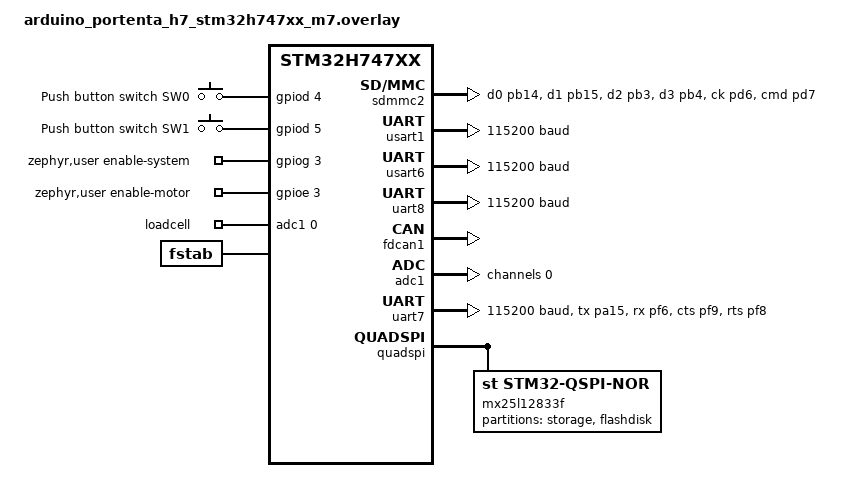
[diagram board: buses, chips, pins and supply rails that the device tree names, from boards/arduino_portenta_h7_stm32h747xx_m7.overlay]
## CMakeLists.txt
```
# SPDX-License-Identifier: Apache-2.0

cmake_minimum_required(VERSION 3.20.0)

macro(app_set_runner_args)
  board_runner_args(canopen "--node-id=${CONFIG_CANOPEN_NODE_ID}")
endmacro()


find_package(Zephyr REQUIRED HINTS $ENV{ZEPHYR_BASE})
project(rehab-bot)

target_sources(app PRIVATE
  src/main.c
  src/bt_main.c
  src/bt_settings.c
  src/config_svc.c
  src/can.c
  src/sdcard.c
  src/button.c
  src/events.c
  src/led.c
  src/loadcell.c
  # src/flashdrive.c
)
target_sources_ifdef(CONFIG_HAS_BLE_FSR app PRIVATE
  src/fsr.c
)
target_sources_ifdef(CONFIG_HAS_BLE_CONTROLLER app PRIVATE
  src/controller.c
)

target_sources_ifdef(CONFIG_HAS_UART_IMU app PRIVATE
  src/uart_imu.c
)

target_sources_ifdef(CONFIG_BT_CYW43XX_ALT app PRIVATE
  src/h4_ifx_cyw43xxx_alt.c
  src/h4_alt.c
)
```

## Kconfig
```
# Config options for prometheus sample application

# Copyright (c) 2024 Mustafa Abdullah Kus, Sparse Technology
# SPDX-License-Identifier: Apache-2.0

mainmenu "rehab robot application"

config BT_CYW43XX_ALT
    bool "Use alternative CYW43XX driver"
    default n
    help
      Enable this option to use an alternative CYW43XX driver 
	  implementation.


config HAS_BLE_FSR
	bool "Has BLE FSR"
	default y
	help
	  Enable this option if the application has a BLE FSR
	  (Force Sensitive Resistor) module. This module is used to
	  measure the pressure applied to the user's foot. The data 
	  from the FSR is sent over BLE to a connected device for 
	  monitoring and analysis.

config HAS_I2C_IMU
	bool "Has I2C IMU"
	default y
	help
	  Enable this option if the application has an I2C IMU
	  (Inertial Measurement Unit) module. This module is used to
	  measure the orientation and motion of the user's leg. The 
	  data from the IMU is sent over I2C to a connected device for 
	  monitoring and analysis.

config HAS_UART_IMU
	bool "Has UART IMU"
	default y
	help
	  Enable this option if the application has a UART IMU
	  (Inertial Measurement Unit) module. This module is used to
	  measure the orientation and motion of the user's leg. The 
	  data from the IMU is sent over UART to a connected device for 
	  monitoring and analysis.

config HAS_BLE_CONTROLLER
	bool "Has BLE Controller"
	default y
	help
	  Enable this option if the application has a BLE
	  (Bluetooth Low Energy) controller module. This module is used 
	  to manage the BLE communication between the application and 
	  connected devices.

config PAIRING_TIMEOUT
	int "Pairing timeout"
	default 180
	range 1 600
	help
	  The timeout for pairing with a BLE device in seconds. If the 
	  pairing process is not completed within this time, the 
	  application will stop trying to pair.

source "Kconfig.zephyr"
```

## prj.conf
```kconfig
CONFIG_SHELL=y
CONFIG_GPIO=y
CONFIG_SERIAL=y
CONFIG_CONSOLE=y
# CONFIG_UART_CONSOLE=y
CONFIG_UART_LINE_CTRL=y
CONFIG_LOG=y
# CONFIG_LOG_MODE_MINIMAL=y
CONFIG_LOG_CMDS=y
CONFIG_CBPRINTF_FP_SUPPORT=y
CONFIG_IPM=y

CONFIG_NEWLIB_LIBC=y

CONFIG_ADC=y
CONFIG_ADC_SHELL=y

CONFIG_MAIN_STACK_SIZE=2048
CONFIG_SYSTEM_WORKQUEUE_STACK_SIZE=2048
CONFIG_BT_LONG_WQ=y

CONFIG_BOARD_SERIAL_BACKEND_CDC_ACM=n
CONFIG_SHELL_BACKEND_SERIAL_CHECK_DTR=n


CONFIG_USB_DEVICE_STACK=y
CONFIG_USB_DEVICE_PRODUCT="Zephyr console"
CONFIG_USB_DEVICE_PID=0x0004
CONFIG_USB_DEVICE_INITIALIZE_AT_BOOT=y
CONFIG_USB_CDC_ACM=y

CONFIG_FLASH=y
CONFIG_FLASH_MAP=y
CONFIG_FLASH_SHELL=y
CONFIG_FLASH_MAP_SHELL=y
CONFIG_SETTINGS=y
CONFIG_SETTINGS_RUNTIME=y
CONFIG_NVS=y
CONFIG_SETTINGS_NVS=y
CONFIG_SETTINGS_SHELL=y

CONFIG_BT=y
CONFIG_BT_CENTRAL=y
CONFIG_BT_PERIPHERAL=y
CONFIG_BT_SMP=y
CONFIG_BT_GATT_CLIENT=y
CONFIG_BT_DEVICE_NAME="Rehab-bot"
CONFIG_BT_SHELL=y
CONFIG_BT_SETTINGS=y
CONFIG_BT_H4=n
CONFIG_BT_MAX_CONN=3
CONFIG_BT_MAX_PAIRED=8
# CONFIG_BT_UART=y
# CONFIG_BT_H4=y
# CONFIG_BT_HCI_DRIVER_LOG_LEVEL_DBG=y
# CONFIG_BT_HCI_CORE_LOG_LEVEL_DBG=y

# CONFIG_BT_DRV_RX_STACK_SIZE

CONFIG_BT_RX_STACK_SIZE=2200

CONFIG_BT_BUF_ACL_RX_COUNT_EXTRA=32
CONFIG_BT_BUF_CMD_TX_COUNT=16
CONFIG_BT_BUF_ACL_TX_COUNT=8
CONFIG_BT_BUF_EVT_RX_COUNT=12

CONFIG_BT_BUF_ACL_TX_SIZE=255
CONFIG_BT_BUF_ACL_RX_SIZE=255
CONFIG_BT_L2CAP_TX_MTU=255
CONFIG_BT_GATT_AUTO_UPDATE_MTU=y
CONFIG_BT_GATT_AUTO_DISCOVER_CCC=y

CONFIG_BT_GATT_AUTO_RESUBSCRIBE=n
CONFIG_BT_GATT_ENFORCE_SUBSCRIPTION=n

CONFIG_AIROC_CUSTOM_FIRMWARE_HCD_BLOB="BCM43430A1_001.002.009.0159.0528.1DX.hcd"

CONFIG_BT_ATT_RETRY_ON_SEC_ERR=n
CONFIG_BT_GATT_AUTO_SEC_REQ=n

CONFIG_BT_FILTER_ACCEPT_LIST=y

CONFIG_CAN=y
CONFIG_CAN_FD_MODE=y
CONFIG_CAN_SHELL=y
CONFIG_CAN_MAX_FILTER=13
CONFIG_CAN_DEFAULT_BITRATE=1000000

CONFIG_SDMMC_STM32=y
CONFIG_DISK_DRIVER_SDMMC=y
CONFIG_SDMMC_STM32_HWFC=y
CONFIG_SDMMC_STM32_CLOCK_CHECK=n
CONFIG_SDMMC_STACK=y

CONFIG_DISK_DRIVER_FLASH=y

CONFIG_DISK_ACCESS=y
CONFIG_DISK_DRIVERS=y

CONFIG_FILE_SYSTEM_MKFS=y
CONFIG_FILE_SYSTEM_SHELL=y
CONFIG_FILE_SYSTEM=y
CONFIG_FILE_SYSTEM_MKFS=y
CONFIG_FAT_FILESYSTEM_ELM=y
CONFIG_FS_FATFS_MKFS=y
CONFIG_FS_FATFS_MOUNT_MKFS=y
CONFIG_FS_FATFS_EXFAT=y
CONFIG_FILE_SYSTEM_LITTLEFS=y

CONFIG_FILE_SYSTEM_SHELL_MOUNT_COMMAND=y
CONFIG_HEAP_MEM_POOL_SIZE=8192


CONFIG_BT_CYW43XX_ALT=y
CONFIG_HAS_BLE_FSR=y
CONFIG_HAS_UART_IMU=y
CONFIG_HAS_I2C_IMU=n
CONFIG_HAS_BLE_CONTROLLER=y
CONFIG_PAIRING_TIMEOUT=60
```

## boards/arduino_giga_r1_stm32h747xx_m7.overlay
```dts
/ {
	chosen {
		/*zephyr,console = &cdc_acm_uart;
		zephyr,shell-uart = &cdc_acm_uart;
		zephyr,uart-mcumgr = &cdc_acm_uart;
		zephyr,bt-mon-uart = &cdc_acm_uart;
		zephyr,bt-c2h-uart = &cdc_acm_uart;        
		*/
	};
};

/*
&zephyr_udc0 {
    cdc_acm_uart: cdc_acm_uart {
        compatible = "zephyr,cdc-acm-uart";
        label = "Zephyr USB CDC-ACM";
    };
};
*/

&uart7 {
	pinctrl-0 = <&uart7_tx_pf7 &uart7_rx_pa8
		     &uart7_cts_pf9 &uart7_rts_pf8>;
	pinctrl-names = "default";
	current-speed = <115200>;
	status = "okay";
	hw-flow-control;
    fifo-enable;

	bt_hci_uart: bt_hci_uart {
		compatible = "zephyr,bt-hci-uart";
		status = "okay";

		murata-1dx {
			compatible = "infineon,cyw43xxx-bt-hci";
			bt-reg-on-gpios = <&gpioa 10 GPIO_ACTIVE_HIGH>;
			bt-host-wake-gpios = <&gpiog 3 GPIO_ACTIVE_HIGH>;
			bt-dev-wake-gpios = <&gpioh 7 GPIO_ACTIVE_HIGH>;
			fw-download-speed = <115200>;
            hci-operation-speed = <3000000>;
		};
	};
};
```

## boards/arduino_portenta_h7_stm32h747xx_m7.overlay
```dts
/ {
	chosen {
		zephyr,console = &usart1;
		zephyr,shell-uart = &usart1;
		zephyr,uart-mcumgr = &usart1;
		zephyr,bt-mon-uart = &usart1;
		zephyr,bt-c2h-uart = &usart1;
		zephyr,canbus = &fdcan1;        
	};

	aliases {
		imu0 = &usart6;
		imu1 = &uart8;
		sw0 = &button0;
		sw1 = &button1;
	};
	
	gpio_keys {
		compatible = "gpio-keys";
		button0: button_0 {
			gpios = <&gpiod 4 GPIO_ACTIVE_HIGH>;
			label = "Push button switch SW0";
		};
		button1: button_1 {
			gpios = <&gpiod 5 GPIO_ACTIVE_HIGH>;
			label = "Push button switch SW1";
		};
	};

	zephyr,user {
		enable-system-gpios = <&gpiog 3 GPIO_ACTIVE_HIGH>;
		enable-motor-gpios = <&gpioe 3 GPIO_ACTIVE_HIGH>;
		io-channels = <&adc1 0>;
		io-channel-names = "loadcell";
	};

	fstab {
		compatible = "zephyr,fstab";
		lfs1: lfs1 {
			compatible = "zephyr,fstab,littlefs";
			read-size = <16>;
			prog-size = <16>;
			cache-size = <64>;
			lookahead-size = <32>;
			block-cycles = <512>;
			partition = <&flash_disk>;
			mount-point = "/lfs";
			automount;
		};
	};
/*
	msc_disk0 {
		compatible = "zephyr,flash-disk";
		partition = <&flash_disk>;
		disk-name = "NAND";
		cache-size = <4096>;
	};
*/	
};

&sdmmc2 {
	status = "okay";
	pinctrl-0 = <&sdmmc2_d0_pb14 &sdmmc2_d1_pb15
		     &sdmmc2_d2_pb3 &sdmmc2_d3_pb4
		     &sdmmc2_ck_pd6 &sdmmc2_cmd_pd7>;
	pinctrl-names = "default";
/*cd-gpios = <&gpioc 13 GPIO_ACTIVE_LOW>;*/
};

&usart1 {
	status = "okay";
	current-speed = <115200>;
};

&usart6 {
	status = "okay";
	current-speed = <115200>;
};

&uart8 {
	status = "okay";
	current-speed = <115200>;
};

&fdcan1 {
	status = "okay";
};

&adc1 {
	status = "okay";
	pinctrl-0 = <&adc1_inp0_pa0_c>;
	pinctrl-names = "default";
	st,adc-clock-source = "SYNC";
	st,adc-prescaler = <4>;
	/*vref-mv = <10000>;*/

	#address-cells = <1>;
	#size-cells = <0>;

	channel@0 {
		reg = <0>;
		zephyr,gain = "ADC_GAIN_1";
		zephyr,reference = "ADC_REF_INTERNAL";
		zephyr,acquisition-time = <ADC_ACQ_TIME_DEFAULT>;
		zephyr,resolution = <16>;
	};
};


&mac {
	status = "disabled";    
};


&uart7 {
	pinctrl-0 = <&uart7_tx_pa15 &uart7_rx_pf6
		     &uart7_cts_pf9 &uart7_rts_pf8>;
	pinctrl-names = "default";
	current-speed = <115200>;
	hw-flow-control;
	status = "okay";
    fifo-enable;

	bt_hci_uart: bt_hci_uart {
		compatible = "zephyr,bt-hci-uart";
		status = "okay";

		murata-1dx {
			compatible = "infineon,cyw43xxx-bt-hci";
			bt-reg-on-gpios = <&gpioj 12 GPIO_ACTIVE_HIGH>;
			bt-host-wake-gpios = <&gpioj 13 GPIO_ACTIVE_HIGH>;
			bt-dev-wake-gpios = <&gpioj 14 GPIO_ACTIVE_HIGH>;
            fw-download-speed = <115200>;
            hci-operation-speed = <3000000>;
		};
	};
};


&flash0 {
	partitions {
		compatible = "fixed-partitions";
		#address-cells = <1>;
		#size-cells = <1>;

		boot_partition: partition@0 {
			label = "bootloader";
			reg = <0x00000000 0x00040000>;
			read-only;
		};
		/* The arduino default bootloader occupies the address space 0x0 - 0x40000.
		 * This way regardless of the user's choice to use the mcuboot bootloader,
		 * applications will be located at 0x40000 which will be loaded by the
		 * arduino bootloader.
		 */
		slot0_partition: partition@40000 {
			label = "image-0";
			reg = <0x00040000 0x000C0000>;
		};
	};
};




&quadspi {
	status = "okay";

	mx25l12833f: qspi-nor-flash@90000000 {
		compatible = "st,stm32-qspi-nor";
		status = "okay";
		partitions {
			compatible = "fixed-partitions";
			#address-cells = < 1 >;
			#size-cells = < 1 >;

			storage_partition: partition@0 {
				label = "storage";
				reg = < 0x0 DT_SIZE_K(512) >;
			};

			flash_disk: partition@f80000 {
				label = "flashdisk";
				reg = < 0x80000 DT_SIZE_K(15872) >;
			};
		};
	};
};
```

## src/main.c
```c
/* main.c - Application main entry point */

/*
 * Copyright (c) 2015-2016 Intel Corporation
 *
 * SPDX-License-Identifier: Apache-2.0
 */

#include <zephyr/types.h>
#include <stddef.h>
#include <errno.h>
#include <zephyr/kernel.h>
#include <zephyr/sys/printk.h>
#include <zephyr/shell/shell.h>

#include <zephyr/bluetooth/bluetooth.h>
#include <zephyr/bluetooth/hci.h>
#include <zephyr/bluetooth/conn.h>
#include <zephyr/bluetooth/uuid.h>
#include <zephyr/bluetooth/gatt.h>
#include <zephyr/sys/byteorder.h>

#include <zephyr/logging/log.h>
#include <app_version.h>

#include "bt_main.h"
#include "config_svc.h"


LOG_MODULE_REGISTER(main);

#define FSR_TAG 		0x01
#define CONTROLLER_TAG 	0x02 

enum debug_flag {
	FLAG_FSR = 0,
	FLAG_CONTROLLER,
	FLAG_NUM,
};

static ATOMIC_DEFINE(flags, FLAG_NUM);
#ifdef CONFIG_HAS_BLE_FSR
K_MSGQ_DEFINE(fsr_msgq, sizeof(struct fsr_data), 10, 1);
#endif
#ifdef CONFIG_HAS_BLE_CONTROLLER
K_MSGQ_DEFINE(controller_msgq, sizeof(struct controller_data), 10, 1);
#endif
struct k_poll_event events[] = {
#ifdef CONFIG_HAS_BLE_FSR
    K_POLL_EVENT_STATIC_INITIALIZER(K_POLL_TYPE_MSGQ_DATA_AVAILABLE,
                                    K_POLL_MODE_NOTIFY_ONLY,
                                    &fsr_msgq, FSR_TAG),
#endif
#ifdef CONFIG_HAS_BLE_CONTROLLER
    K_POLL_EVENT_STATIC_INITIALIZER(K_POLL_TYPE_MSGQ_DATA_AVAILABLE,
                                    K_POLL_MODE_NOTIFY_ONLY,
                                    &controller_msgq, CONTROLLER_TAG),
#endif
};

int main(void)
{
	LOG_INF("Application Version: %s", APP_VERSION_EXTENDED_STRING);

	while (1) {
		int err = k_poll(events, ARRAY_SIZE(events), K_FOREVER);
		if (err) {
			LOG_ERR("k_poll failed: %d", err);
			continue;
		}

		for (int i = 0; i < ARRAY_SIZE(events); i++) {
#ifdef CONFIG_HAS_BLE_FSR	
			if (events[i].state == K_POLL_STATE_MSGQ_DATA_AVAILABLE && events[i].tag == FSR_TAG) {
				events[i].state = K_POLL_STATE_NOT_READY;
				struct fsr_data data;
				err = k_msgq_get(events[i].msgq, &data, K_NO_WAIT);
				if (err) {
					LOG_ERR("k_msgq_get failed: %d", err);
					continue;
				}
				if (atomic_test_bit(flags, FLAG_FSR)) {
					LOG_INF("FSR data: %u %u %u %u", data.value[0], data.value[1], data.value[2], data.value[3]);
				}
			}		
#endif
#ifdef CONFIG_HAS_BLE_CONTROLLER
			if (events[i].state == K_POLL_STATE_MSGQ_DATA_AVAILABLE && 
				events[i].tag == CONTROLLER_TAG) {
				struct controller_data data;
				events[i].state = K_POLL_STATE_NOT_READY;
				err = k_msgq_get(events[i].msgq, &data, K_NO_WAIT);
				if (err) {
					LOG_ERR("k_msgq_get failed: %d", err);
					continue;
				}
				if (atomic_test_bit(flags, FLAG_CONTROLLER)) {
					LOG_INF("Controller data: %u", data.value);
				}
			}	
#endif
		}
	}

	return 0;
}

static int cmd_monitor_fsr_start(const struct shell *sh, size_t argc, char *argv[])
{
	ARG_UNUSED(argc);
	ARG_UNUSED(argv);

	if (atomic_test_and_set_bit(flags, FLAG_FSR)) {
		shell_print(sh, "fsr monitoring already started\n");
		return 0;
	}
	shell_print(sh, "fsr started\n");
	return 0;
}

static int cmd_monitor_fsr_stop(const struct shell *sh, size_t argc, char *argv[])
{
	ARG_UNUSED(argc);
	ARG_UNUSED(argv);

	if (atomic_test_and_clear_bit(flags, FLAG_FSR)) {
		shell_print(sh, "fsr monitoring not started\n");
		return 0;
	}
	shell_print(sh, "fsr stopped\n");

	return 0;
}

static int cmd_monitor_controller_start(const struct shell *sh, size_t argc, char *argv[])
{
	ARG_UNUSED(argc);
	ARG_UNUSED(argv);

	if (atomic_test_and_set_bit(flags, FLAG_CONTROLLER)) {
		shell_print(sh, "controller monitoring already started\n");
		return 0;
	}
	shell_print(sh, "controller started\n");
	return 0;
}

static int cmd_monitor_controller_stop(const struct shell *sh, size_t argc, char *argv[])
{
	ARG_UNUSED(argc);
	ARG_UNUSED(argv);

	if (atomic_test_and_clear_bit(flags, FLAG_CONTROLLER)) {
		shell_print(sh, "controller monitoring not started\n");
		return 0;
	}
	shell_print(sh, "controller stopped\n");
	return 0;
}


#define START_HELP ("<cmd>\n\nStart monitoring")
#define STOP_HELP  ("<cmd>\n\nStop monitoring")

SHELL_STATIC_SUBCMD_SET_CREATE(fsr_subcmd,
	/* Alphabetically sorted to ensure correct Tab autocompletion. */
	SHELL_CMD_ARG(start, NULL, START_HELP, cmd_monitor_fsr_start, 1, 0),
	SHELL_CMD_ARG(stop, NULL, STOP_HELP, cmd_monitor_fsr_stop, 1, 0),
	SHELL_SUBCMD_SET_END /* Array terminated. */
);

SHELL_STATIC_SUBCMD_SET_CREATE(controller_subcmd,
	/* Alphabetically sorted to ensure correct Tab autocompletion. */
	SHELL_CMD_ARG(start, NULL, START_HELP, cmd_monitor_controller_start, 1, 0),
	SHELL_CMD_ARG(stop, NULL, STOP_HELP, cmd_monitor_controller_stop, 1, 0),
	SHELL_SUBCMD_SET_END /* Array terminated. */
);

SHELL_STATIC_SUBCMD_SET_CREATE(monitor_subcmd,
	SHELL_CMD(fsr, &fsr_subcmd, "FSR sensor data", NULL),
	SHELL_CMD(controller, &controller_subcmd, "Controller data", NULL),
	SHELL_SUBCMD_SET_END);

SHELL_CMD_REGISTER(monitor, &monitor_subcmd, "Monitor commands", NULL);
```

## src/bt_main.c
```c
#include <zephyr/device.h>
#include <zephyr/devicetree.h>
 
#include <zephyr/bluetooth/bluetooth.h>
#include <zephyr/bluetooth/hci.h>
#include <zephyr/bluetooth/conn.h>
#include <zephyr/bluetooth/uuid.h>
#include <zephyr/bluetooth/gatt.h>
#include <zephyr/bluetooth/services/bas.h>

#include <zephyr/settings/settings.h>
#include <zephyr/sys/byteorder.h>
#include <zephyr/logging/log.h>
#include <zephyr/random/random.h>
#include <string.h>
#include "bt_main.h"
#include "config_svc.h"

LOG_MODULE_REGISTER(bt_main, LOG_LEVEL_INF);

#define STACKSIZE 1024
#define PRIORITY 7

#define MFG_DATA_LEN 2
#define MFG_FLAG_PAIRING 0x8000

#define SCAN_PARAM BT_LE_SCAN_PARAM(BT_LE_SCAN_TYPE_PASSIVE, \
									BT_LE_SCAN_OPT_NONE, \
									BT_GAP_SCAN_FAST_INTERVAL, \
									BT_GAP_SCAN_FAST_WINDOW)
#define SCAN_DELAY K_MSEC(500)


enum state_flag {
	FLAG_SCAN,
	FLAG_SLEEP_BEFORE_SCAN,
	FLAG_PAIR,
	FLAG_PAIRING_COMPLETE,
	FLAG_NUM,
};

static ATOMIC_DEFINE(flag, FLAG_NUM);
K_SEM_DEFINE(bt_sem, 0, 1);

static struct gatt_client *clients[] = {
#ifdef CONFIG_HAS_BLE_FSR
	&fsr_srvc,	
#endif
#ifdef CONFIG_HAS_BLE_CONTROLLER
	&controller_client,
#endif	
	// NULL
};

static bool is_pairing = false;
static bt_addr_le_t bond_addrs[CONFIG_BT_MAX_PAIRED] = {0};
struct k_work_delayable pairing_timeout_work;
#define PAIRING_TIMEOUT K_SECONDS(CONFIG_PAIRING_TIMEOUT)

static void copy_bonded_addr(const struct bt_bond_info *info, void *data)
{
	int *count = (int *)data;
	if (*count >= CONFIG_BT_MAX_PAIRED) {
		LOG_WRN("Maximum bonded addresses reached (%d)", CONFIG_BT_MAX_PAIRED);
		return;
	}
	bt_addr_le_copy(&bond_addrs[*count], &info->addr);
	(*count)++;
}

static void load_bonded_addresses(void)
{
	int bonded_count = 0;
	bt_foreach_bond(BT_ID_DEFAULT, copy_bonded_addr, &bonded_count);
	LOG_INF("Loaded %u bonded addresses", bonded_count);
}

static bool find_bonded_addr(const bt_addr_le_t *addr)
{
	// Check if the address is in the bonded addresses list
	for (int i = 0; i < CONFIG_BT_MAX_PAIRED; i++) {
		if (bt_addr_le_cmp(addr, &bond_addrs[i]) == 0) {
			return true;
		}
	}
	return false;
}

static void pairing_timeout(struct k_work *work)
{
	LOG_INF("Pairing timeout, stopping scan");
	atomic_set_bit(flag, FLAG_PAIRING_COMPLETE);
	k_sem_give(&bt_sem);
}


static void start_scan(void);
static void stop_scan(void);

static bool scan_required(void)
{
	// Check if any client is disconnected
	for (int i = 0; i < ARRAY_SIZE(clients); i++) {
		if (clients[i]->conn == NULL) {
			return true;
		}
	}
	return false;
}

static struct gatt_client * get_client_by_conn(struct bt_conn *conn)
{
	// Find the service by connection
	for (int i = 0; i < ARRAY_SIZE(clients); i++) {
		if (clients[i]->conn == conn) {
			return clients[i];
		}
	}
	return NULL;
}

static void disconnect_all(void)
{
	LOG_INF("Disconnecting all clients");
	for (int i = 0; i < ARRAY_SIZE(clients); i++) {
		if (clients[i]->conn) {
			bt_conn_disconnect(clients[i]->conn, BT_HCI_ERR_REMOTE_USER_TERM_CONN);
			clients[i]->disconnected_cb();
			bt_conn_unref(clients[i]->conn);
			clients[i]->conn = NULL;
		}
	}
}

static bool eir_found(struct bt_data *data, void *user_data)
{
	bt_addr_le_t *addr = user_data;
    struct bt_uuid_128 uuid128;
	static uint16_t mfg_data = 0x0; // Manufacturer data placeholder

	// LOG_INF("[AD]: %u data_len %u", data->type, data->data_len);

	switch (data->type) {
	case BT_DATA_MANUFACTURER_DATA:
		if (data->data_len == 2) {
			mfg_data = sys_get_be16(data->data);
			// LOG_INF("Manufacturer data found: %04x", mfg_data);
		} else {
			mfg_data = 0x0; // Reset if data length is not 2
		}
		break;	
	case BT_DATA_UUID128_ALL:
        if (!bt_uuid_create(&uuid128.uuid, data->data, data->data_len)) {
            LOG_ERR("Unable to create UUID from data");
            return false;
        }

		for (int i = 0; i < ARRAY_SIZE(clients); i++) {
			if (bt_uuid_cmp(&uuid128.uuid, &clients[i]->uuid->uuid) == 0 && clients[i]->conn == NULL) {

				if (is_pairing) {
					if (mfg_data & MFG_FLAG_PAIRING) {
						LOG_INF("Pairing flag found in manufacturer data, pairing mode active");
						bt_unpair(BT_ID_DEFAULT, addr);
					} else {
						LOG_INF("Pairing mode active, but no pairing flag in manufacturer data");
						return false;
					}
				} else  {
					if (find_bonded_addr(addr) && !(mfg_data & MFG_FLAG_PAIRING)) {
						LOG_INF("Found bonded address, proceeding with connection");
					} else {
						LOG_INF("Not in pairing mode and no bonded address found");
						return false;
					}
				}

				LOG_INF("Found service %s", clients[i]->name);
				stop_scan();
				if (bt_conn_le_create(addr, BT_CONN_LE_CREATE_CONN, &clients[i]->conn_param, &clients[i]->conn)) {
					char addr_str[BT_ADDR_LE_STR_LEN];
					bt_addr_le_to_str(addr, addr_str, sizeof(addr_str));
					LOG_INF("Create conn to %s failed", addr_str);
					atomic_set_bit(flag, FLAG_SCAN);
					k_sem_give(&bt_sem);
				}
				return false;
			}
		}
    }

	return true;
}


static void device_found(const bt_addr_le_t *addr, int8_t rssi, uint8_t type,
			 struct net_buf_simple *ad)
{
	char addr_str[BT_ADDR_LE_STR_LEN];

	if (!scan_required()) {
		stop_scan();
		return;
	}

	/* We're only interested in connectable events */
	if (type != BT_GAP_ADV_TYPE_ADV_IND &&
	    type != BT_GAP_ADV_TYPE_ADV_DIRECT_IND) {
		return;
	}
	bt_addr_le_to_str(addr, addr_str, sizeof(addr_str));
	LOG_DBG("Device found: %s (RSSI %d)", addr_str, rssi);
	bt_data_parse(ad, eir_found, (void *)addr);
}


static void connected(struct bt_conn *conn, uint8_t err)
{
	char addr[BT_ADDR_LE_STR_LEN];
	struct gatt_client *client = get_client_by_conn(conn);

	bt_addr_le_to_str(bt_conn_get_dst(conn), addr, sizeof(addr));

	if (err) {
		LOG_INF("Failed to connect to %s %u %s", addr, err, bt_hci_err_to_str(err));
		if (client) {
			client->conn = NULL;
		}
		bt_conn_unref(conn);
		atomic_set_bit(flag, FLAG_SCAN);
		k_sem_give(&bt_sem);
		return;
	}

	if (client == NULL) {
		LOG_WRN("Service not found for connection");
		return;
	}

	client->connected_cb();
	LOG_INF("Connected from %s security %d", addr, bt_conn_get_security(conn));

	atomic_set_bit(flag, FLAG_SLEEP_BEFORE_SCAN);
	k_sem_give(&bt_sem);
}

static void disconnected(struct bt_conn *conn, uint8_t reason)
{
	char addr[BT_ADDR_LE_STR_LEN];
	struct gatt_client *client = get_client_by_conn(conn);
	if (!client) {
		return;
	}

	bt_addr_le_to_str(bt_conn_get_dst(conn), addr, sizeof(addr));
	LOG_INF("Disconnected: %s, reason 0x%02x %s", addr, reason, bt_hci_err_to_str(reason));
	client->disconnected_cb();
	bt_conn_unref(client->conn);
	client->conn = NULL;

	atomic_set_bit(flag, FLAG_SCAN);
	k_sem_give(&bt_sem);
}

static bool le_param_req(struct bt_conn *conn,struct bt_le_conn_param *param)
{
	LOG_INF("LE param request: interval_min %d interval_max %d latency %d timeout %d", param->interval_min, 
		param->interval_max, param->latency, param->timeout);
	return true;
}

static void le_param_updated(struct bt_conn *conn, uint16_t interval, uint16_t latency, uint16_t timeout)
{
	LOG_INF("LE param updated: interval %d latency %d timeout %d", interval, latency, timeout);
}

static void security_changed(struct bt_conn *conn, bt_security_t level, enum bt_security_err err)
{
	char addr[BT_ADDR_LE_STR_LEN];
	bt_addr_le_to_str(bt_conn_get_dst(conn), addr, sizeof(addr));
	LOG_INF("Security changed: %s, level %d, err %d", addr, level, err);
}

BT_CONN_CB_DEFINE(conn_callbacks) = {
	.connected = connected,
	.disconnected = disconnected,
	.le_param_req = le_param_req,
    .le_param_updated = le_param_updated,
	.security_changed = security_changed,
};

void mtu_updated(struct bt_conn *conn, uint16_t tx, uint16_t rx)
{
	LOG_INF("Updated MTU: TX: %d RX: %d bytes", tx, rx);
}

static struct bt_gatt_cb gatt_callbacks = {
	.att_mtu_updated = mtu_updated,
};

void pairing_complete(struct bt_conn *conn, bool bonded)
{
	char addr_str[BT_ADDR_LE_STR_LEN];
	bt_addr_le_to_str(bt_conn_get_dst(conn), addr_str, sizeof(addr_str));
	LOG_INF("Pairing completed: %s, bonded %s", addr_str, bonded ? "yes" : "no");
}

void pairing_failed(struct bt_conn *conn, enum bt_security_err reason)
{
	LOG_INF("Pairing failed: %s", bt_security_err_to_str(reason));
	bt_conn_disconnect(conn, BT_HCI_ERR_AUTH_FAIL);
	bt_unpair(BT_ID_DEFAULT, bt_conn_get_dst(conn));
}


static struct bt_conn_auth_info_cb bt_conn_auth_info = {
	.pairing_complete = pairing_complete,
	.pairing_failed = pairing_failed,
};

static void start_scan(void)
{
	int err;

	err = bt_le_scan_start(SCAN_PARAM, device_found);
	if (err && err != -EALREADY) {
		LOG_ERR("Scanning failed to start (err %d)", err);
		return;
	} else {
		LOG_INF("Scanning successfully started\n");
	}
}

static void stop_scan(void)
{
	int err;

	err = bt_le_scan_stop();
	if (err) {
		LOG_ERR("Failed to stop scanning (err %d)", err);
		return;
	}
	LOG_INF("Scanning successfully stopped\n");
}


static void bt_thread(void)
{

    k_work_init_delayable(&pairing_timeout_work, pairing_timeout);

	if (dev_settings_load()) {
		LOG_ERR("Failed to initialize settings");
		return;
	}

	k_sem_take(&bt_sem, K_FOREVER); // Wait for the semaphore to start Bluetooth initialization

	if (bt_enable(NULL)) {
		LOG_ERR("Failed to enable Bluetooth");
		return;
	}
 
	if (IS_ENABLED(CONFIG_SETTINGS)) {
		settings_load();
	}

	LOG_INF("Bluetooth initialized");

	load_bonded_addresses();

    bt_conn_auth_info_cb_register(&bt_conn_auth_info);
	bt_gatt_cb_register(&gatt_callbacks);

	bt_set_bondable(false);

	start_scan();
	init_config_svc();

	while (1) {
        k_sem_take(&bt_sem, K_FOREVER);
		if (atomic_test_and_clear_bit(flag, FLAG_SCAN)) {
			if (scan_required()) {
				start_scan();
			} else if (is_pairing) {
				k_work_cancel_delayable(&pairing_timeout_work);
				atomic_set_bit(flag, FLAG_PAIRING_COMPLETE);
				k_sem_give(&bt_sem);
			}
		} 
		if (atomic_test_and_clear_bit(flag, FLAG_SLEEP_BEFORE_SCAN)) {
			k_sleep(SCAN_DELAY);
			atomic_set_bit(flag, FLAG_SCAN);
			k_sem_give(&bt_sem);
		}
		if (atomic_test_and_clear_bit(flag, FLAG_PAIR)) {
			disconnect_all();
			bt_set_bondable(true);
			is_pairing = true;
			k_work_schedule(&pairing_timeout_work, PAIRING_TIMEOUT);
			atomic_set_bit(flag, FLAG_SLEEP_BEFORE_SCAN);
			k_sem_give(&bt_sem);
		}
		if (atomic_test_and_clear_bit(flag, FLAG_PAIRING_COMPLETE)) {
			LOG_INF("Pairing completed");
			bt_set_bondable(false);
			is_pairing = false;
			settings_runtime_set("event/pairing_complete", NULL, 0);
			atomic_set_bit(flag, FLAG_SCAN);
			k_sem_give(&bt_sem);
		}
	}
}

K_THREAD_DEFINE(bt_id, STACKSIZE, bt_thread, NULL, NULL, NULL, PRIORITY, 0, 0);



int btsrv_handle_set(const char *name, size_t len, settings_read_cb read_cb, void *cb_arg)
{
	const char *next;
	size_t name_len;
	// int err;

	name_len = settings_name_next(name, &next);
	if (!next) {
		if (!strncmp(name, "start", name_len)) {
			LOG_INF("<btsrv/start>");
			k_sem_give(&bt_sem);
			return 0;
		}
		if (!strncmp(name, "stop", name_len)) {
			LOG_INF("<btsrv/stop>");
			bt_disable();
			return 0;
		}
		if (!strncmp(name, "pair", name_len)) {
			LOG_INF("<btsrv/pair>");
			atomic_set_bit(flag, FLAG_PAIR);
			k_sem_give(&bt_sem);
			return 0;
		}
	}
	return -ENOENT;
}
/* static subtree handler */
SETTINGS_STATIC_HANDLER_DEFINE(btsrv, "btsrv", NULL, btsrv_handle_set, NULL, NULL);
```

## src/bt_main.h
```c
#ifndef _BT_MAIN_H_
#define _BT_MAIN_H_

#include <zephyr/kernel.h>
#include <zephyr/bluetooth/bluetooth.h>
#include <zephyr/bluetooth/hci.h>
#include <zephyr/bluetooth/conn.h>
#include <zephyr/bluetooth/uuid.h>

struct gatt_client {
    char *name;
    struct bt_conn *conn;
    struct bt_le_conn_param conn_param;
    const struct bt_uuid_128 *uuid;
    void (*connected_cb)();
    void (*disconnected_cb)();
};

extern int dev_settings_load(void);
extern void config_svc_init(void);


#ifdef CONFIG_HAS_BLE_FSR
extern struct gatt_client fsr_srvc;
struct fsr_data {
    uint16_t value[4];
};
extern struct k_msgq fsr_msgq;
#endif // CONFIG_HAS_BLE_FSR
#ifdef CONFIG_HAS_BLE_CONTROLLER
extern struct gatt_client controller_client;
struct controller_data {
    uint16_t value;
    uint16_t mode;
};
extern struct k_msgq controller_msgq;
#endif // CONFIG_HAS_BLE_CONTROLLER

#endif // _BT_MAIN_H_
```

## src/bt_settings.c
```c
#include <zephyr/kernel.h>
#include <zephyr/settings/settings.h>
#include <zephyr/logging/log.h>
#include <zephyr/random/random.h>
#include <zephyr/bluetooth/bluetooth.h>


LOG_MODULE_REGISTER(dev_settings, LOG_LEVEL_INF);

static bt_addr_t local_addr = {
	.val = {0, 0, 0, 0, 0, 0}
};

uint8_t *local_dev_addr() 
{
	return local_addr.val;
}

static int direct_loader(const char *name, size_t len, settings_read_cb read_cb,
	void *cb_arg, void *param)
{
    ARG_UNUSED(name);
    ARG_UNUSED(len);
	read_cb(cb_arg, local_addr.val, sizeof(bt_addr_t));
	return 0;
}

int dev_settings_load(void)
{
    if (settings_subsys_init()) {
        LOG_ERR("Failed to initialize settings subsystem");
        return -1;
    }

    if (settings_load_subtree_direct("device/bdaddr", direct_loader, NULL)) {
        LOG_ERR("Failed to load local address");
        return -1;
    }

    if (bt_addr_cmp(&local_addr, BT_ADDR_ANY) == 0) {
        LOG_INF("No address found, generating random address");
        for (int i = 0; i < sizeof(bt_addr_t); i++) {
            local_addr.val[i] = sys_rand8_get();
        }
        settings_save_one("device/bdaddr", local_addr.val, sizeof(bt_addr_t));
    }

    LOG_INF("Local address: %02x:%02x:%02x:%02x:%02x:%02x",
        local_addr.val[0], local_addr.val[1], local_addr.val[2],
        local_addr.val[3], local_addr.val[4], local_addr.val[5]);

    return 0;
}
```

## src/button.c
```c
#include <zephyr/kernel.h>
#include <zephyr/sys/byteorder.h>
#include <zephyr/device.h>
#include <zephyr/drivers/gpio.h>
#include <zephyr/sys/util.h>
#include <zephyr/sys/printk.h>
#include <zephyr/devicetree.h>
#include <zephyr/drivers/adc.h>
#include <zephyr/logging/log.h>
#include <zephyr/sys/atomic.h>
#include <zephyr/drivers/pwm.h>
#include <zephyr/settings/settings.h>

LOG_MODULE_REGISTER(button, LOG_LEVEL_ERR);

#define STACKSIZE 1024
#define PRIORITY 7

#define BUTTON_SHORT_PRESS_TIME 800 // ms

typedef enum {
    STATE_NONE = 0,
	STATE_A,
	STATE_B,
	STATE_BOTH,
	STATE_A_LONG,
	STATE_B_LONG,
    STATE_NUM,
} button_state_t;

static struct {
    struct k_mutex lock;
    button_state_t state;
    struct k_work_delayable work;
} input_data;
static struct gpio_callback button_cb_data;

#define SW0_NODE		DT_ALIAS(sw0)
#define SW1_NODE		DT_ALIAS(sw1)

static const struct gpio_dt_spec button_0 = GPIO_DT_SPEC_GET_OR(SW0_NODE, gpios, {0});
static const struct gpio_dt_spec button_1 = GPIO_DT_SPEC_GET_OR(SW1_NODE, gpios, {0});

K_SEM_DEFINE(button_sem, 0, 1);

static void long_work_handler(struct k_work *work)
{
    k_mutex_lock(&input_data.lock, K_FOREVER);
    if (input_data.state == STATE_A) {
        input_data.state = STATE_NONE;
        settings_runtime_set("event/button_a_long", NULL, 0);
    } else if (input_data.state == STATE_B) {
        input_data.state = STATE_NONE;
        settings_runtime_set("event/button_b_long", NULL, 0);
    }
    k_mutex_unlock(&input_data.lock);
}

void button_event(const struct device *dev, struct gpio_callback *cb, uint32_t pins)
{
	if (pins & BIT(button_0.pin)) {
		bool pressed = gpio_pin_get_dt(&button_0);
		LOG_INF("Button 0 %s at %" PRIu32 "", pressed? "pressed":"released", k_cycle_get_32());
        if (pressed) {
            k_mutex_lock(&input_data.lock, K_FOREVER);
            if (input_data.state == STATE_NONE) {
                input_data.state = STATE_A;
                k_work_schedule(&input_data.work, K_MSEC(BUTTON_SHORT_PRESS_TIME));
            } else if (input_data.state == STATE_B) {
                input_data.state = STATE_NONE;
                k_work_cancel_delayable(&input_data.work);
                settings_runtime_set("event/button_ab", NULL, 0);
            }
            k_mutex_unlock(&input_data.lock);
        } else {
            k_mutex_lock(&input_data.lock, K_FOREVER);
            if (input_data.state == STATE_A) {
                input_data.state = STATE_NONE;
                k_work_cancel_delayable(&input_data.work);
                settings_runtime_set("event/button_a", NULL, 0);
            }
            k_mutex_unlock(&input_data.lock);
        }

	} else if (pins & BIT(button_1.pin)) {
        bool pressed = gpio_pin_get_dt(&button_1);
        LOG_INF("Button 1 %s at %" PRIu32 "", pressed? "pressed":"released", k_cycle_get_32());
        if (pressed) {
            k_mutex_lock(&input_data.lock, K_FOREVER);
            if (input_data.state == STATE_NONE) {
                input_data.state = STATE_B;
                k_work_schedule(&input_data.work, K_MSEC(BUTTON_SHORT_PRESS_TIME));
            } else if (input_data.state == STATE_A) {
                input_data.state = STATE_NONE;
                k_work_cancel_delayable(&input_data.work);
                settings_runtime_set("event/button_ab", NULL, 0);
            }
            k_mutex_unlock(&input_data.lock);
        } else {
            k_mutex_lock(&input_data.lock, K_FOREVER);
            if (input_data.state == STATE_B) {
                input_data.state = STATE_NONE;
                k_work_cancel_delayable(&input_data.work);
                settings_runtime_set("event/button_b", NULL, 0);
            }
            k_mutex_unlock(&input_data.lock);
        }
    } else {
        LOG_ERR("Unknown button event on pins: %08x", pins);
        return;
    }
}

static int button_init(void)
{
	int err;

    input_data.state = STATE_NONE;
    k_mutex_init(&input_data.lock); 
    k_work_init_delayable(&input_data.work, long_work_handler);

	if (!gpio_is_ready_dt(&button_0)) {
		LOG_ERR("Error: button device %s is not ready\n", button_0.port->name);
		return -1;
	}
	if (!gpio_is_ready_dt(&button_1)) {
		LOG_ERR("Error: button device %s is not ready\n", button_1.port->name);
		return -1;
	}
	err = gpio_pin_configure_dt(&button_0, GPIO_INPUT);
	if (err != 0) {
		LOG_ERR("Error %d: failed to configure %s pin %d", err, button_0.port->name, button_0.pin);
		return -1;
	}
	err = gpio_pin_configure_dt(&button_1, GPIO_INPUT);
	if (err != 0) {
		LOG_ERR("Error %d: failed to configure %s pin %d", err, button_1.port->name, button_1.pin);
		return -1;
	}

	err = gpio_pin_interrupt_configure_dt(&button_0, GPIO_INT_EDGE_BOTH);
	if (err != 0) {
		LOG_ERR("Error %d: failed to configure interrupt on %s pin %d", err, 
			button_0.port->name, button_0.pin);
		return -1;
	}

	err = gpio_pin_interrupt_configure_dt(&button_1, GPIO_INT_EDGE_BOTH);
	if (err != 0) {
		LOG_ERR("Error %d: failed to configure interrupt on %s pin %d", err, 
			button_1.port->name, button_1.pin);
		return -1;
	}

	gpio_init_callback(&button_cb_data, button_event, BIT(button_0.pin) | BIT(button_1.pin));
	gpio_add_callback(button_0.port, &button_cb_data);
	gpio_add_callback(button_1.port, &button_cb_data);

	return 0;
}

SYS_INIT(button_init, APPLICATION, CONFIG_APPLICATION_INIT_PRIORITY);
```

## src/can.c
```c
#include <zephyr/kernel.h>
#include <zephyr/device.h>
#include <zephyr/storage/disk_access.h>
#include <zephyr/logging/log.h>
#include <zephyr/drivers/can.h>
#include <zephyr/settings/settings.h>

LOG_MODULE_REGISTER(can, LOG_LEVEL_DBG);

#define STACKSIZE 1024
#define PRIORITY 7

#define TIMER_DELAY 	K_SECONDS(5) 
#define TIMER_INTERVAL 	K_SECONDS(5) //K_MSEC(1) 

#define TX_MSG_ID 0x100
#define RX_MSG_ID 0x200

/* Devicetree */
#define CANBUS_NODE DT_CHOSEN(zephyr_canbus)

K_SEM_DEFINE(tx_sem, 0, 1);

K_THREAD_STACK_DEFINE(rx_thread_stack, STACKSIZE);
K_THREAD_STACK_DEFINE(tx_thread_stack, STACKSIZE);
struct k_thread rx_thread_data, tx_thread_data;

const struct device *const can_dev = DEVICE_DT_GET(CANBUS_NODE);

CAN_MSGQ_DEFINE(rx_msgq, 5);

static void tx_timer_handler(struct k_timer *timer)
{
    k_sem_give(&tx_sem);
	// LOG_DBG("TX timer expired, semaphore given");
}

K_TIMER_DEFINE(tx_timer, tx_timer_handler, NULL);

static void can_tx_callback(const struct device *dev, int error, void *user_data)
{
    ARG_UNUSED(dev);
    ARG_UNUSED(user_data);
    if (error != 0) {
        LOG_ERR("CAN TX callback error: %d", error);
    } else {
        LOG_DBG("CAN frame sent successfully");
    }
}

static void can_tx_thread(void *unused1, void *unused2, void *unused3)
{
	struct can_frame frame = {
        .id = TX_MSG_ID,
        .dlc = 8,
        .flags = CAN_FRAME_IDE,
        .data = {0x01, 0x02, 0x03, 0x04, 0x05, 0x06, 0x07, 0x08}};
	int err;

	k_sem_take(&tx_sem, K_FOREVER);
    k_timer_start(&tx_timer, TIMER_DELAY, TIMER_INTERVAL);

    while (true) {
        k_sem_take(&tx_sem, K_FOREVER/*K_MSEC(2)*/);
		LOG_DBG("Preparing to send CAN frame with ID: 0x%08x, DLC: %d",
				frame.id, frame.dlc);
        err = can_send(can_dev, &frame, /*K_MSEC(10)*/K_FOREVER/*K_NO_WAIT*/, can_tx_callback, NULL);
		// LOG_DBG("CAN send returned with error: %d", err);
        if (err != 0) {
            LOG_ERR("failed to enqueue CAN frame (err %d)", err);
        }
	}
}

static void can_rx_thread(void *unused1, void *unused2, void *unused3)
{
	const struct can_filter filter = {
		.flags = CAN_FILTER_IDE,
		.id = RX_MSG_ID,
		.mask = CAN_EXT_ID_MASK
	};
	struct can_frame frame;
	int filter_id;

	filter_id = can_add_rx_filter_msgq(can_dev, &rx_msgq, &filter);
	LOG_INF("Filter id: %d", filter_id);

	while (true) {
		if (!k_msgq_get(&rx_msgq, &frame, K_FOREVER)) {
            LOG_DBG("Received CAN frame with ID: 0x%08x, DLC: %d",
                        frame.id, frame.dlc);
    		// LOG_HEXDUMP_DBG(frame.data, frame.dlc,
            //             "CAN frame data");
        }
	}
}

void state_change_callback(const struct device *dev, enum can_state state,
			   struct can_bus_err_cnt err_cnt, void *user_data)
{
	ARG_UNUSED(user_data);
	ARG_UNUSED(dev);

	LOG_DBG("CAN state changed: %d", state);
}


static int motor_can_init(void)
{
    int err;
    
	LOG_DBG("");

	if (!device_is_ready(can_dev)) {
		LOG_ERR("CAN device not ready");
		return -1;
	}

	err = can_set_mode(can_dev, CAN_MODE_FD);
	if (err != 0) {
		LOG_ERR("Error setting CAN FD mode (err %d)", err);
		return 0;
	}

	can_set_state_change_callback(can_dev, state_change_callback, NULL);

	err = can_start(can_dev);
	if (err != 0) {
		LOG_ERR("Error starting CAN controller (err %d)", err);
		return -1;
	}

	k_thread_create(&rx_thread_data, rx_thread_stack,
				 K_THREAD_STACK_SIZEOF(rx_thread_stack),
				 can_rx_thread, NULL, NULL, NULL,
				 PRIORITY, 0, K_NO_WAIT);
	k_thread_name_set(&rx_thread_data, "can_rx");

	k_thread_create(&tx_thread_data, tx_thread_stack,
				 K_THREAD_STACK_SIZEOF(tx_thread_stack),
				 can_tx_thread, NULL, NULL, NULL,
				 PRIORITY, 0, K_NO_WAIT);
	k_thread_name_set(&tx_thread_data, "can_tx");

    LOG_INF("CAN controller started successfully");
	return 0;
}

SYS_INIT(motor_can_init, APPLICATION, CONFIG_APPLICATION_INIT_PRIORITY);



int can_handle_set(const char *name, size_t len, settings_read_cb read_cb, void *cb_arg)
{
	const char *next;
	size_t name_len;

	name_len = settings_name_next(name, &next);
	if (!next) {
		if (!strncmp(name, "start", name_len)) {
			LOG_INF("<can/start>");
			k_sem_give(&tx_sem);
			return 0;
		}
	}
	return -ENOENT;
}
/* static subtree handler */
SETTINGS_STATIC_HANDLER_DEFINE(can, "can", NULL, can_handle_set, NULL, NULL);
```

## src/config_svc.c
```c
#include <zephyr/device.h>
#include <zephyr/devicetree.h>
 
#include <zephyr/bluetooth/bluetooth.h>
#include <zephyr/bluetooth/hci.h>
#include <zephyr/bluetooth/conn.h>
#include <zephyr/bluetooth/uuid.h>
#include <zephyr/bluetooth/gatt.h>
#include <zephyr/bluetooth/services/bas.h>

#include <zephyr/settings/settings.h>

#include <zephyr/logging/log.h>
#include <string.h>
#include "config_svc.h"


LOG_MODULE_REGISTER(config_svc, LOG_LEVEL_INF);

#define STACKSIZE 1024
#define PRIORITY 7

enum controller_flag {
	FLAG_ADVERTISE,
	FLAG_NUM,
};
static ATOMIC_DEFINE(flag, FLAG_NUM);

K_SEM_DEFINE(svc_sem, 0, 1);

static const struct bt_data ad[] = {
	BT_DATA_BYTES(BT_DATA_FLAGS, (BT_LE_AD_GENERAL | BT_LE_AD_NO_BREDR)),
	BT_DATA_BYTES(BT_DATA_UUID16_ALL,
			BT_UUID_16_ENCODE(BT_UUID_BAS_VAL),
			BT_UUID_16_ENCODE(BT_UUID_DIS_VAL)),
	BT_DATA_BYTES(BT_DATA_UUID128_ALL, BT_UUID_CONFIG_SERVICE_VAL),			
};

static const struct bt_data sd[] = {
	BT_DATA(BT_DATA_NAME_COMPLETE, CONFIG_BT_DEVICE_NAME, sizeof(CONFIG_BT_DEVICE_NAME) - 1),
};

static const struct bt_uuid_128 config_svc_uuid = BT_UUID_INIT_128(
	BT_UUID_CONFIG_SERVICE_VAL);
static const struct bt_uuid_128 config_flat_walking_uuid = BT_UUID_INIT_128(
	BT_UUID_128_ENCODE(0x32e94da4, 0x19c8, 0x11f0, 0x9cd2, 0x0242ac120002));	
static const struct bt_uuid_128 config_stair_ascent_uuid = BT_UUID_INIT_128(
    BT_UUID_128_ENCODE(0x32e94ef8, 0x19c8, 0x11f0, 0x9cd2, 0x0242ac120002));	
static const struct bt_uuid_128 config_stair_descent_uuid = BT_UUID_INIT_128(
    BT_UUID_128_ENCODE(0x32e94f8e, 0x19c8, 0x11f0, 0x9cd2, 0x0242ac120002));	
static const struct bt_uuid_128 config_manual_uuid = BT_UUID_INIT_128(
    BT_UUID_128_ENCODE(0x32e950ec, 0x19c8, 0x11f0, 0x9cd2, 0x0242ac120002));	
static const struct bt_uuid_128 config_fsr_uuid = BT_UUID_INIT_128(
    BT_UUID_128_ENCODE(0x32e95178, 0x19c8, 0x11f0, 0x9cd2, 0x0242ac120002));	



static struct bt_conn *svc_conn = NULL;

static void connected(struct bt_conn *conn, uint8_t err)
{
    struct bt_conn_info info;

    err = bt_conn_get_info(conn, &info);
    if (err) {
        LOG_ERR("Failed to get connection info: %d", err);
        return;
    }
    if (info.role == BT_CONN_ROLE_PERIPHERAL) {
        char addr[BT_ADDR_LE_STR_LEN];
    	bt_addr_le_to_str(bt_conn_get_dst(conn), addr, sizeof(addr));
        LOG_INF("Connected as peripheral to %s", addr);
        svc_conn = conn;
		// atomic_set_bit(flag, FLAG_CONNECTED);
		// k_sem_give(&svc_sem);
    }
}

static void disconnected(struct bt_conn *conn, uint8_t reason)
{
	char addr[BT_ADDR_LE_STR_LEN];

    if (conn != svc_conn) {
        return;
    }
	bt_addr_le_to_str(bt_conn_get_dst(conn), addr, sizeof(addr));
	LOG_INF("Disconnected: %s, reason 0x%02x %s", addr, reason, bt_hci_err_to_str(reason));
    svc_conn = NULL;
    atomic_set_bit(flag, FLAG_ADVERTISE);
    k_sem_give(&svc_sem);
}


BT_CONN_CB_DEFINE(conn_callbacks) = {
	.connected = connected,
	.disconnected = disconnected,
};


void init_config_svc(void)
{
    atomic_set_bit(flag, FLAG_ADVERTISE);
    k_sem_give(&svc_sem);
}

static void config_svc_thread(void)
{
    int err;

    
	while (1) {
        k_sem_take(&svc_sem, K_FOREVER);
        if (atomic_test_and_clear_bit(flag, FLAG_ADVERTISE)) {
			err = bt_le_adv_start(BT_LE_ADV_CONN_FAST_2, ad, ARRAY_SIZE(ad), sd, ARRAY_SIZE(sd));
			if (err) {
				LOG_ERR("Advertising failed to start (err %d)", err);
				return;
			}
			LOG_INF("Advertising started");
		}

	}
}

K_THREAD_DEFINE(config_svc_id, STACKSIZE, config_svc_thread, NULL, NULL, NULL, PRIORITY, 0, 0);


struct direct_immediate_value {
	size_t len;
	void *dest;
	size_t fetched;
};

static int direct_loader(const char *name, size_t len, settings_read_cb read_cb,
	void *cb_arg, void *param)
{
	struct direct_immediate_value *one_value = (struct direct_immediate_value *)param;
    ARG_UNUSED(len);
	const char *next;
	size_t name_len;
	int rc;

	name_len = settings_name_next(name, &next);
	if (name_len == 0) {
        if (len <= one_value->len) {
            rc = read_cb(cb_arg, one_value->dest, len);
            if (rc >= 0) {
                one_value->fetched = len;
                return 0;
            }
            return rc;
        }
        return -EINVAL;
    }
	return 0;
}

static ssize_t read_uint16(struct bt_conn *conn, const struct bt_gatt_attr *attr,
    void *buf, uint16_t len, uint16_t offset)
{
    uint16_t value;
    struct direct_immediate_value div = {
        .len = sizeof(value),
        .dest = (void *)&value,
        .fetched = 0,
    };
    settings_load_subtree_direct(attr->user_data, direct_loader, &div);

    return bt_gatt_attr_read(conn, attr, buf, len, offset, &value, sizeof(value));
}

static ssize_t write_uint16(struct bt_conn *conn, const struct bt_gatt_attr *attr,
    const void *buf, uint16_t len, uint16_t offset,
    uint8_t flags)
{
    uint16_t value;

   if (offset + len > sizeof(value)) {
       return BT_GATT_ERR(BT_ATT_ERR_INVALID_OFFSET);
   }

//    memcpy(value + offset, buf, len);
   settings_save_one(attr->user_data, buf, len);
   return len;
}


BT_GATT_SERVICE_DEFINE(config_service,
	BT_GATT_PRIMARY_SERVICE(&config_svc_uuid),
	BT_GATT_CHARACTERISTIC(&config_flat_walking_uuid.uuid,
                BT_GATT_CHRC_READ | BT_GATT_CHRC_WRITE | BT_GATT_CHRC_WRITE_WITHOUT_RESP,
                BT_GATT_PERM_READ | BT_GATT_PERM_WRITE,
                read_uint16, write_uint16, "config/flat_walking"),
	BT_GATT_CHARACTERISTIC(&config_stair_ascent_uuid.uuid,
                BT_GATT_CHRC_READ | BT_GATT_CHRC_WRITE | BT_GATT_CHRC_WRITE_WITHOUT_RESP,
                BT_GATT_PERM_READ | BT_GATT_PERM_WRITE,
                read_uint16, write_uint16, "config/stair_ascent"),
    BT_GATT_CHARACTERISTIC(&config_stair_descent_uuid.uuid,
                BT_GATT_CHRC_READ | BT_GATT_CHRC_WRITE | BT_GATT_CHRC_WRITE_WITHOUT_RESP,
                BT_GATT_PERM_READ | BT_GATT_PERM_WRITE,
                read_uint16, write_uint16, "config/stair_descent"),                
    BT_GATT_CHARACTERISTIC(&config_manual_uuid.uuid,
                BT_GATT_CHRC_READ | BT_GATT_CHRC_WRITE | BT_GATT_CHRC_WRITE_WITHOUT_RESP,
                BT_GATT_PERM_READ | BT_GATT_PERM_WRITE,
                read_uint16, write_uint16, "config/manual"),                
    BT_GATT_CHARACTERISTIC(&config_fsr_uuid.uuid,
                BT_GATT_CHRC_READ | BT_GATT_CHRC_WRITE | BT_GATT_CHRC_WRITE_WITHOUT_RESP,
                BT_GATT_PERM_READ | BT_GATT_PERM_WRITE,
                read_uint16, write_uint16, "config/fsr"),                
);
```

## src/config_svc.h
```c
#ifndef _CONFIG_SERVICE_H_
#define _CONFIG_SERVICE_H_

#include <zephyr/types.h>
#include <zephyr/bluetooth/bluetooth.h>
#include <zephyr/bluetooth/uuid.h>


// 32e94ac0-19c8-11f0-9cd2-0242ac120002
// 32e94da4-19c8-11f0-9cd2-0242ac120002
// 32e94ef8-19c8-11f0-9cd2-0242ac120002
// 32e94f8e-19c8-11f0-9cd2-0242ac120002
// 32e950ec-19c8-11f0-9cd2-0242ac120002
// 32e95178-19c8-11f0-9cd2-0242ac120002

#define BT_UUID_CONFIG_SERVICE_VAL \
	BT_UUID_128_ENCODE(0x32e94ac0, 0x19c8, 0x11f0, 0x9cd2, 0x0242ac120002)


void init_config_svc(void);
// typedef void (*update_callback_t)(uint16_t *val, size_t val_len);
// void subscribed(int interval, update_callback_t callback);
// void unsubscribed();


#endif /* _CONFIG_SERVICE_H_ */
```

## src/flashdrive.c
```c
#include <zephyr/kernel.h>
#include <zephyr/device.h>

#include <zephyr/usb/usb_device.h>
#include <zephyr/usb/usbd.h>
#include <zephyr/usb/class/usbd_msc.h>

#include <zephyr/storage/flash_map.h>
#include <zephyr/storage/disk_access.h>
#include <zephyr/logging/log.h>
#include <zephyr/fs/fs.h>
#include <ff.h>

LOG_MODULE_REGISTER(flashdrive, LOG_LEVEL_INF);

#define STORAGE_PARTITION		    wifi_firmware
#define STORAGE_PARTITION_ID		FIXED_PARTITION_ID(STORAGE_PARTITION)

static FATFS fat_fs;
static struct fs_mount_t fs_mnt ={
    .type = FS_FATFS,
    .fs_data = &fat_fs, 
    .storage_dev = NULL, 
    .mnt_point = NULL, 
};

#define DISK_MOUNT_PT "/NAND:"
static const char *disk_mount_pt = DISK_MOUNT_PT;


// USBD_DEFINE_MSC_LUN(nand, "NAND", "Zephyr", "FlashDisk", "0.00");


static int setup_flash()
{
	int err = 0;
	unsigned int id;
	const struct flash_area *pfa;

	id = STORAGE_PARTITION_ID;

	err = flash_area_open(id, &pfa);
	LOG_INF("Area %u at 0x%x on %s for %u bytes",
	       id, (unsigned int)pfa->fa_off, pfa->fa_dev->name,
	       (unsigned int)pfa->fa_size);

	if (err < 0) {
		LOG_INF("Erasing flash area ... ");
		err = flash_area_flatten(pfa, 0, pfa->fa_size);
		LOG_INF("Erased %d", err);
	}

	if (err < 0) {
		flash_area_close(pfa);
	}
	return err;
}

static int flashdrive_init(void)
{
	int err;
	struct fs_dir_t dir;

	fs_dir_t_init(&dir);
    err = setup_flash();
    if (err < 0) {
        LOG_ERR("Failed to setup flash area");
        return -1;
    }
    fs_mnt.storage_dev = (void *)STORAGE_PARTITION_ID;
	fs_mnt.mnt_point = disk_mount_pt;
	err = fs_mount(&fs_mnt);

	return 0;
}

SYS_INIT(flashdrive_init, APPLICATION, CONFIG_APPLICATION_INIT_PRIORITY);
```
